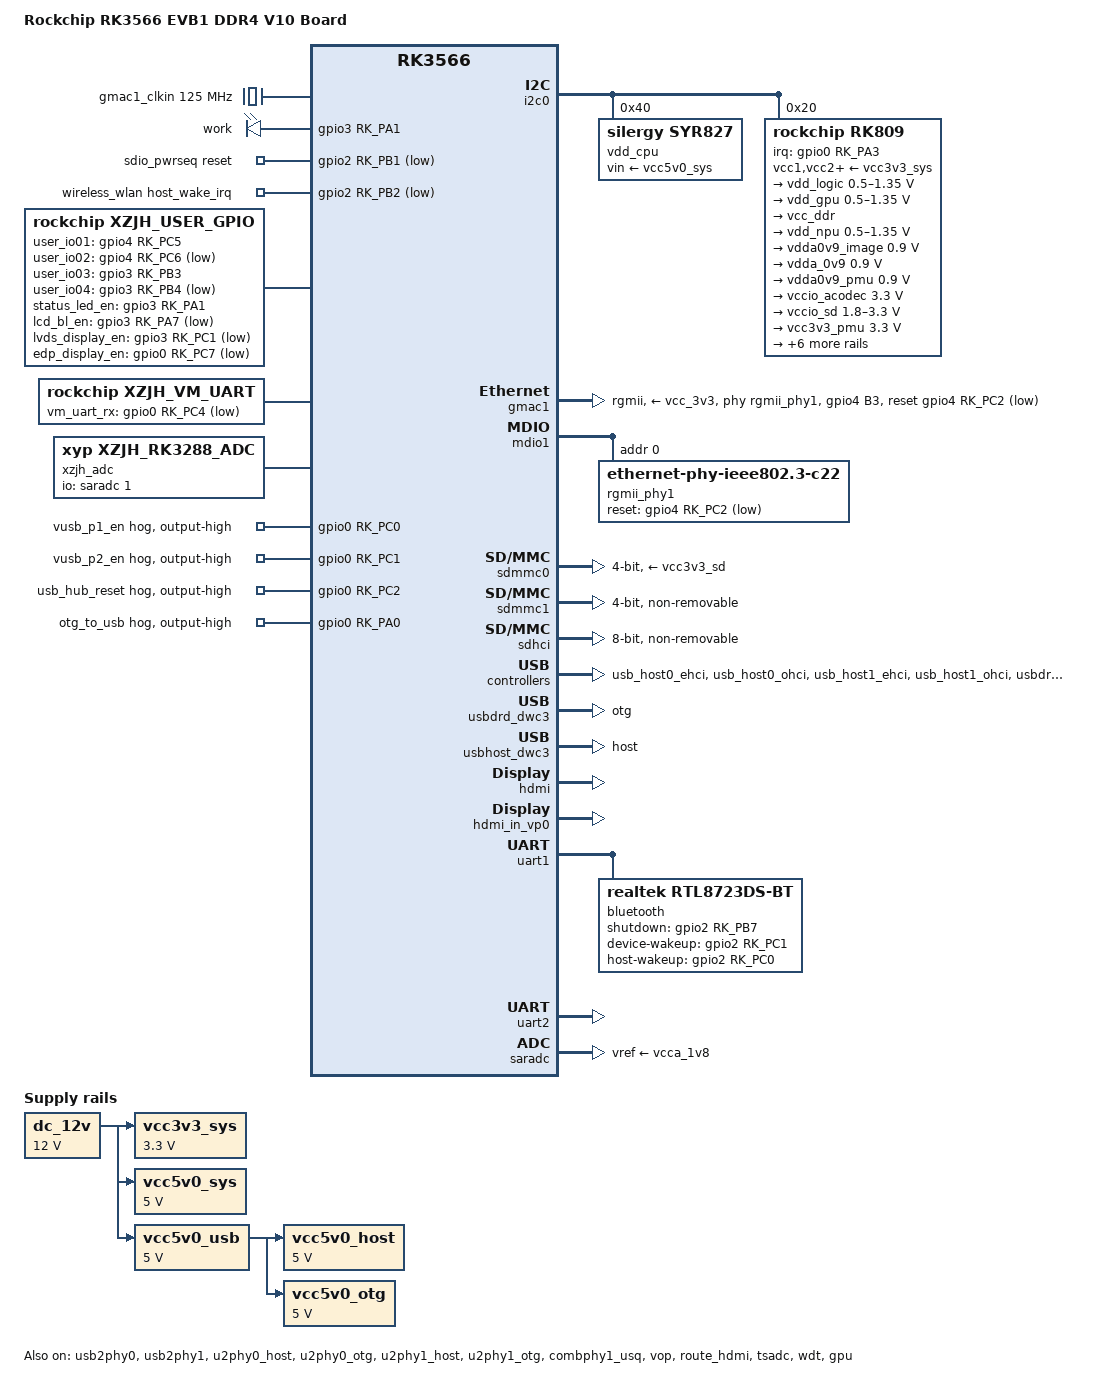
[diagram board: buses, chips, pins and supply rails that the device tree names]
// SPDX-License-Identifier: (GPL-2.0+ OR MIT)
/*
 * Board: RK3566 EVB1 DDR4 V10 (custom board)
 * DTS for armbian/linux-rockchip rk-6.1-rkr5.1
 * Keeps: USB, Bluetooth, WiFi, Ethernet (GMAC), LED, HDMI
 */

/dts-v1/;

#include <dt-bindings/gpio/gpio.h>
#include <dt-bindings/pinctrl/rockchip.h>
#include <dt-bindings/clock/rk3568-cru.h>
#include <dt-bindings/power/rk3568-power.h>
#include <dt-bindings/input/input.h>
#include "rk3566.dtsi"

/ {
	model = "Rockchip RK3566 EVB1 DDR4 V10 Board";
	compatible = "rockchip,rk3566-evb1-ddr4-v10", "rockchip,rk3566";

	aliases {
		ethernet0 = &gmac1;
		mmc0 = &sdmmc0;
		mmc1 = &sdmmc1;
		mmc2 = &sdhci;
	};

	chosen: chosen {
		bootargs = "earlycon=uart8250,mmio32,0xfe660000 rootwait";
	};

	/* ---- Fixed clocks ---- */
	gmac1_clkin: external-gmac1-clock {
		compatible = "fixed-clock";
		clock-frequency = <125000000>;
		clock-output-names = "gmac1_clkin";
		#clock-cells = <0>;
	};

	xpcs_gmac1_clk: xpcs-gmac1-clock {
		compatible = "fixed-clock";
		clock-frequency = <125000000>;
		clock-output-names = "clk_gmac1_xpcs_mii";
		#clock-cells = <0>;
	};

	/* ---- Regulators ---- */
	dc_12v: dc-12v {
		compatible = "regulator-fixed";
		regulator-name = "dc_12v";
		regulator-always-on;
		regulator-boot-on;
		regulator-min-microvolt = <12000000>;
		regulator-max-microvolt = <12000000>;
	};

	vcc3v3_sys: vcc3v3-sys {
		compatible = "regulator-fixed";
		regulator-name = "vcc3v3_sys";
		regulator-always-on;
		regulator-boot-on;
		regulator-min-microvolt = <3300000>;
		regulator-max-microvolt = <3300000>;
		vin-supply = <&dc_12v>;
	};

	vcc5v0_sys: vcc5v0-sys {
		compatible = "regulator-fixed";
		regulator-name = "vcc5v0_sys";
		regulator-always-on;
		regulator-boot-on;
		regulator-min-microvolt = <5000000>;
		regulator-max-microvolt = <5000000>;
		vin-supply = <&dc_12v>;
	};

	vcc5v0_usb: vcc5v0-usb {
		compatible = "regulator-fixed";
		regulator-name = "vcc5v0_usb";
		regulator-always-on;
		regulator-boot-on;
		regulator-min-microvolt = <5000000>;
		regulator-max-microvolt = <5000000>;
		vin-supply = <&dc_12v>;
	};

	vcc5v0_host: vcc5v0-host-regulator {
		compatible = "regulator-fixed";
		regulator-name = "vcc5v0_host";
		regulator-boot-on;
		regulator-always-on;
		regulator-min-microvolt = <5000000>;
		regulator-max-microvolt = <5000000>;
		vin-supply = <&vcc5v0_usb>;
	};

	vcc5v0_otg: vcc5v0-otg-regulator {
		compatible = "regulator-fixed";
		regulator-name = "vcc5v0_otg";
		regulator-boot-on;
		regulator-always-on;
		regulator-min-microvolt = <5000000>;
		regulator-max-microvolt = <5000000>;
		vin-supply = <&vcc5v0_usb>;
	};

	/* ---- LED ---- */
	leds: leds {
		compatible = "gpio-leds";

		work: work {
			gpios = <&gpio3 RK_PA1 GPIO_ACTIVE_HIGH>;
			linux,default-trigger = "heartbeat";
		};
	};

	/* ---- SDIO power sequence for WiFi ---- */
	sdio_pwrseq: sdio-pwrseq {
		compatible = "mmc-pwrseq-simple";
		clocks = <&rk809 1>;
		clock-names = "ext_clock";
		pinctrl-names = "default";
		pinctrl-0 = <&wifi_enable_h>;
		post-power-on-delay-ms = <200>;
		reset-gpios = <&gpio2 RK_PB1 GPIO_ACTIVE_LOW>;
	};

	/* ---- Wireless WiFi ---- */
	wireless_wlan: wireless-wlan {
		compatible = "wlan-platdata";
		rockchip,grf = <&grf>;
		wifi_chip_type = "";
		status = "okay";
		pinctrl-names = "default";
		pinctrl-0 = <&wifi_host_wake_irq>;
		WIFI,host_wake_irq = <&gpio2 RK_PB2 GPIO_ACTIVE_LOW>;
		sdio_vref = <1800>;
	};

	/* ---- Wireless Bluetooth ---- */
	/* Note: RTL8723DS BT uses hci_uart driver, init with btattach */

	/* ---- FIQ debugger (console) ---- */
	fiq_debugger: fiq-debugger {
		compatible = "rockchip,fiq-debugger";
		rockchip,serial-id = <2>;
		rockchip,wake-irq = <0>;
		rockchip,irq-mode-enable = <1>;
		rockchip,baudrate = <1500000>;
		interrupts = <GIC_SPI 252 IRQ_TYPE_LEVEL_HIGH>;
		pinctrl-names = "default";
		pinctrl-0 = <&uart2m0_xfer>;
		status = "okay";
	};

	/* ---- Custom board GPIO (LED + USB power control) ---- */
	xzjh_user_gpio: xzjh-user-gpio {
		status = "okay";
		compatible = "rockchip,xzjh_user_gpio";
		user_io01 = <&gpio4 RK_PC5 GPIO_ACTIVE_HIGH>;
		user_io02 = <&gpio4 RK_PC6 GPIO_ACTIVE_LOW>;
		user_io03 = <&gpio3 RK_PB3 GPIO_ACTIVE_HIGH>;
		user_io04 = <&gpio3 RK_PB4 GPIO_ACTIVE_LOW>;
		status_led_en = <&gpio3 RK_PA1 GPIO_ACTIVE_HIGH>;
		lcd_bl_en = <&gpio3 RK_PA7 GPIO_ACTIVE_LOW>;
		lvds_display_en = <&gpio3 RK_PC1 GPIO_ACTIVE_LOW>;
		edp_display_en = <&gpio0 RK_PC7 GPIO_ACTIVE_LOW>;
		vusb_p1_en = <&gpio0 RK_PC0 GPIO_ACTIVE_HIGH>;
		vusb_p2_en = <&gpio0 RK_PC1 GPIO_ACTIVE_HIGH>;
		usb_hub_reset = <&gpio0 RK_PC2 GPIO_ACTIVE_HIGH>;
		otg_to_usb = <&gpio0 RK_PA0 GPIO_ACTIVE_HIGH>;
		device_kernel_info = "001";
	};

	xzjh_vm_uart: xzjh-vm-uart {
		status = "okay";
		compatible = "rockchip,xzjh_vm_uart";
		vm_uart_rx = <&gpio0 RK_PC4 GPIO_ACTIVE_LOW>;
	};

	xzjh_adc: xzjh-adc {
		status = "okay";
		compatible = "xyp,xzjh_rk3288_adc";
		io-channels = <&saradc 1>;
	};

	test_power: test-power {
		status = "okay";
	};
};

/* ============================================================
 * PMIC on I2C0 - RK809
 * ============================================================ */
&i2c0 {
	status = "okay";
	pinctrl-names = "default";
	pinctrl-0 = <&i2c0_xfer>;

	vdd_cpu: syr827@40 {
		compatible = "silergy,syr827";
		reg = <0x40>;
		status = "okay";
		vin-supply = <&vcc5v0_sys>;
		regulator-compatible = "fan53555-reg";
		regulator-name = "vdd_cpu";
		regulator-min-microvolt = <712500>;
		regulator-max-microvolt = <1392500>;
		regulator-init-microvolt = <900000>;
		regulator-ramp-delay = <2300>;
		fcs,suspend-voltage-selector = <1>;
		regulator-always-on;
		regulator-boot-on;
		regulator-initial-state = <3>;

		regulator-state-mem {
			regulator-off-in-suspend;
		};
	};

	rk809: pmic@20 {
		compatible = "rockchip,rk809";
		reg = <0x20>;
		interrupt-parent = <&gpio0>;
		interrupts = <RK_PA3 IRQ_TYPE_LEVEL_LOW>;
		pinctrl-names = "default", "pmic-sleep",
				"pmic-power-off", "pmic-reset";
		pinctrl-0 = <&pmic_int>;
		pinctrl-1 = <&soc_slppin_slp &soc_slppin_gpio>;
		pinctrl-2 = <&soc_slppin_gpio &soc_slppin_pwrdn>;
		pinctrl-3 = <&soc_slppin_gpio &soc_slppin_rst>;
		rockchip,system-power-controller;
		wakeup-source;
		#clock-cells = <1>;
		clock-output-names = "rk808-clkout1", "rk808-clkout2";
		pmic-reset-func = <0>;
		not-save-power-en = <1>;

		vcc1-supply = <&vcc3v3_sys>;
		vcc2-supply = <&vcc3v3_sys>;
		vcc3-supply = <&vcc3v3_sys>;
		vcc4-supply = <&vcc3v3_sys>;
		vcc5-supply = <&vcc3v3_sys>;
		vcc6-supply = <&vcc3v3_sys>;
		vcc7-supply = <&vcc3v3_sys>;
		vcc8-supply = <&vcc3v3_sys>;
		vcc9-supply = <&vcc3v3_sys>;

		pwrkey {
			status = "okay";
		};

		pinctrl_rk8xx: pinctrl-rk8xx {
			gpio-controller;
			#gpio-cells = <2>;

			rk817_slppin_null: rk817-slppin-null {
				pins = "gpio_slp";
				function = "pin_fun0";
			};

			rk817_slppin_slp: rk817-slppin-slp {
				pins = "gpio_slp";
				function = "pin_fun1";
			};

			rk817_slppin_pwrdn: rk817-slppin-pwrdn {
				pins = "gpio_slp";
				function = "pin_fun2";
			};

			rk817_slppin_rst: rk817-slppin-rst {
				pins = "gpio_slp";
				function = "pin_fun3";
			};
		};

		regulators {
			vdd_logic: DCDC_REG1 {
				regulator-always-on;
				regulator-boot-on;
				regulator-min-microvolt = <500000>;
				regulator-max-microvolt = <1350000>;
				regulator-init-microvolt = <900000>;
				regulator-ramp-delay = <6001>;
				regulator-initial-mode = <0x2>;
				regulator-name = "vdd_logic";

				regulator-state-mem {
					regulator-off-in-suspend;
				};
			};

			vdd_gpu: DCDC_REG2 {
				regulator-always-on;
				regulator-boot-on;
				regulator-min-microvolt = <500000>;
				regulator-max-microvolt = <1350000>;
				regulator-init-microvolt = <900000>;
				regulator-ramp-delay = <6001>;
				regulator-initial-mode = <0x2>;
				regulator-name = "vdd_gpu";

				regulator-state-mem {
					regulator-off-in-suspend;
				};
			};

			vcc_ddr: DCDC_REG3 {
				regulator-always-on;
				regulator-boot-on;
				regulator-initial-mode = <0x2>;
				regulator-name = "vcc_ddr";

				regulator-state-mem {
					regulator-on-in-suspend;
				};
			};

			vdd_npu: DCDC_REG4 {
				regulator-always-on;
				regulator-boot-on;
				regulator-min-microvolt = <500000>;
				regulator-max-microvolt = <1350000>;
				regulator-init-microvolt = <900000>;
				regulator-ramp-delay = <6001>;
				regulator-initial-mode = <0x2>;
				regulator-name = "vdd_npu";

				regulator-state-mem {
					regulator-off-in-suspend;
				};
			};

			vdda0v9_image: LDO_REG1 {
				regulator-boot-on;
				regulator-always-on;
				regulator-min-microvolt = <900000>;
				regulator-max-microvolt = <900000>;
				regulator-name = "vdda0v9_image";

				regulator-state-mem {
					regulator-off-in-suspend;
				};
			};

			vdda_0v9: LDO_REG2 {
				regulator-always-on;
				regulator-boot-on;
				regulator-min-microvolt = <900000>;
				regulator-max-microvolt = <900000>;
				regulator-name = "vdda_0v9";

				regulator-state-mem {
					regulator-off-in-suspend;
				};
			};

			vdda0v9_pmu: LDO_REG3 {
				regulator-always-on;
				regulator-boot-on;
				regulator-min-microvolt = <900000>;
				regulator-max-microvolt = <900000>;
				regulator-name = "vdda0v9_pmu";

				regulator-state-mem {
					regulator-on-in-suspend;
					regulator-suspend-microvolt = <900000>;
				};
			};

			vccio_acodec: LDO_REG4 {
				regulator-always-on;
				regulator-boot-on;
				regulator-min-microvolt = <3300000>;
				regulator-max-microvolt = <3300000>;
				regulator-name = "vccio_acodec";

				regulator-state-mem {
					regulator-off-in-suspend;
				};
			};

			vccio_sd: LDO_REG5 {
				regulator-always-on;
				regulator-boot-on;
				regulator-min-microvolt = <1800000>;
				regulator-max-microvolt = <3300000>;
				regulator-name = "vccio_sd";

				regulator-state-mem {
					regulator-off-in-suspend;
				};
			};

			vcc3v3_pmu: LDO_REG6 {
				regulator-always-on;
				regulator-boot-on;
				regulator-min-microvolt = <3300000>;
				regulator-max-microvolt = <3300000>;
				regulator-name = "vcc3v3_pmu";

				regulator-state-mem {
					regulator-on-in-suspend;
					regulator-suspend-microvolt = <3300000>;
				};
			};

			vcca_1v8: LDO_REG7 {
				regulator-always-on;
				regulator-boot-on;
				regulator-min-microvolt = <1800000>;
				regulator-max-microvolt = <1800000>;
				regulator-name = "vcca_1v8";

				regulator-state-mem {
					regulator-off-in-suspend;
				};
			};

			vcca1v8_pmu: LDO_REG8 {
				regulator-always-on;
				regulator-boot-on;
				regulator-min-microvolt = <1800000>;
				regulator-max-microvolt = <1800000>;
				regulator-name = "vcca1v8_pmu";

				regulator-state-mem {
					regulator-on-in-suspend;
					regulator-suspend-microvolt = <1800000>;
				};
			};

			vcca1v8_image: LDO_REG9 {
				regulator-always-on;
				regulator-boot-on;
				regulator-min-microvolt = <1800000>;
				regulator-max-microvolt = <1800000>;
				regulator-name = "vcca1v8_image";

				regulator-state-mem {
					regulator-off-in-suspend;
				};
			};

			vcc_1v8: DCDC_REG5 {
				regulator-always-on;
				regulator-boot-on;
				regulator-min-microvolt = <1800000>;
				regulator-max-microvolt = <1800000>;
				regulator-name = "vcc_1v8";

				regulator-state-mem {
					regulator-off-in-suspend;
				};
			};

			vcc_3v3: SWITCH_REG1 {
				regulator-always-on;
				regulator-boot-on;
				regulator-name = "vcc_3v3";

				regulator-state-mem {
					regulator-off-in-suspend;
				};
			};

			vcc3v3_sd: SWITCH_REG2 {
				regulator-always-on;
				regulator-boot-on;
				regulator-name = "vcc3v3_sd";

				regulator-state-mem {
					regulator-off-in-suspend;
				};
			};
		};

		rk809_codec: codec {
			#sound-dai-cells = <0>;
			compatible = "rockchip,rk809-codec", "rockchip,rk817-codec";
			status = "disabled";
		};
	};
};

/* ============================================================
 * GMAC Ethernet (RGMII, external PHY)
 * ============================================================ */
&gmac1 {
	assigned-clocks = <&cru SCLK_GMAC1_RX_TX>, <&cru SCLK_GMAC1>, <&cru CLK_MAC1_OUT>;
	assigned-clock-parents = <&cru SCLK_GMAC1_RGMII_SPEED>;
	assigned-clock-rates = <0>, <125000000>, <25000000>;
	clock_in_out = "output";
	phy-mode = "rgmii";
	phy-supply = <&vcc_3v3>;
	/*
	 * snps,reset-gpio is used by stmmac_mdio_reset() which runs as the
	 * MDIO bus reset callback BEFORE the PHY scan. This is critical:
	 * the PHY's reset-gpios (in the phy@0 node below) is only processed
	 * AFTER get_phy_device() reads the PHY ID via MDIO, which requires
	 * the PHY to already be out of reset. So we need snps,reset-gpio here
	 * to deassert the reset before the MDIO scan.
	 * stmmac_mdio_reset() claims the GPIO, toggles it, then releases it
	 * (devm_gpiod_put), so the PHY subsystem can later claim reset-gpios.
	 */
	snps,reset-gpio = <&gpio4 RK_PC2 GPIO_ACTIVE_LOW>;
	snps,reset-delays-us = <0 20000 100000>;
	pinctrl-names = "default";
	pinctrl-0 = <&gmac1m1_miim
		     &gmac1m1_clkinout
		     &gmac1m1_rx_bus2
		     &gmac1m1_tx_bus2
		     &gmac1m1_rgmii_clk
		     &gmac1m1_rgmii_bus
		     &eth1m1_pins>;
	tx_delay = <0x4f>;
	rx_delay = <0x26>;
	phy-handle = <&rgmii_phy1>;
	status = "okay";
};

&mdio1 {
	rgmii_phy1: phy@0 {
		compatible = "ethernet-phy-ieee802.3-c22";
		reg = <0x0>;
		clocks = <&cru CLK_MAC1_OUT>;
		reset-gpios = <&gpio4 RK_PC2 GPIO_ACTIVE_LOW>;
		reset-assert-us = <20000>;
		reset-deassert-us = <100000>;
	};
};

/* ============================================================
 * Storage: eMMC, SD card, SDIO (WiFi)
 * ============================================================ */

/* SD card */
&sdmmc0 {
	max-frequency = <150000000>;
	bus-width = <4>;
	cap-mmc-highspeed;
	cap-sd-highspeed;
	disable-wp;
	sd-uhs-sdr104;
	vmmc-supply = <&vcc3v3_sd>;
	vqmmc-supply = <&vccio_sd>;
	pinctrl-names = "default";
	pinctrl-0 = <&sdmmc0_bus4 &sdmmc0_clk &sdmmc0_cmd &sdmmc0_det>;
	status = "okay";
};

/* SDIO - WiFi (RTL8723DS) */
&sdmmc1 {
	max-frequency = <150000000>;
	bus-width = <4>;
	disable-wp;
	cap-sd-highspeed;
	cap-sdio-irq;
	keep-power-in-suspend;
	mmc-pwrseq = <&sdio_pwrseq>;
	non-removable;
	pinctrl-names = "default";
	pinctrl-0 = <&sdmmc1_bus4 &sdmmc1_clk &sdmmc1_cmd>;
	sd-uhs-sdr104;
	status = "okay";
};

/* eMMC */
&sdhci {
	bus-width = <8>;
	max-frequency = <200000000>;
	non-removable;
	status = "okay";
};

/* ============================================================
 * USB
 * ============================================================ */
&usb2phy0 {
	status = "okay";
};

&usb2phy1 {
	status = "okay";
};

&usb_host0_ehci {
	status = "okay";
};

&usb_host0_ohci {
	status = "okay";
};

&usb_host1_ehci {
	status = "okay";
};

&usb_host1_ohci {
	status = "okay";
};

&u2phy0_host {
	phy-supply = <&vcc5v0_host>;
	status = "okay";
};

&u2phy0_otg {
	vbus-supply = <&vcc5v0_otg>;
	status = "okay";
};

&u2phy1_host {
	phy-supply = <&vcc5v0_host>;
	status = "okay";
};

&u2phy1_otg {
	phy-supply = <&vcc5v0_host>;
	status = "okay";
};

&usbdrd30 {
	status = "okay";
};

&usbhost30 {
	status = "okay";
};

&combphy1_usq {
	status = "okay";
};

&usbdrd_dwc3 {
	dr_mode = "otg";
	extcon = <&usb2phy0>;
	status = "okay";
};

&usbhost_dwc3 {
	dr_mode = "host";
	status = "okay";
};

/* ============================================================
 * Display / HDMI
 * ============================================================ */
&vop {
	status = "okay";
	vop-supply = <&vdd_logic>;
	assigned-clocks = <&cru DCLK_VOP0>, <&cru DCLK_VOP1>, <&cru DCLK_VOP2>;
	assigned-clock-parents = <&pmucru PLL_HPLL>, <&cru PLL_VPLL>, <&cru PLL_GPLL>;
};

&vop_mmu {
	status = "okay";
};

&hdmi {
	status = "okay";
	rockchip,phy-table =
		<92812500  0x8009 0x0000 0x0270>,
		<165000000 0x800b 0x0000 0x026d>,
		<185625000 0x800b 0x0000 0x01ed>,
		<297000000 0x800b 0x0000 0x01ad>,
		<594000000 0x8029 0x0000 0x0088>,
		<000000000 0x0000 0x0000 0x0000>;
};

&hdmi_in_vp0 {
	status = "okay";
};

&hdmi_in_vp1 {
	status = "disabled";
};

&route_hdmi {
	status = "okay";
	connect = <&vp0_out_hdmi>;
};

/* ============================================================
 * UART
 * ============================================================ */

/* UART1 - Bluetooth (RTL8723DS) */
&uart1 {
	pinctrl-names = "default";
	pinctrl-0 = <&uart1m0_xfer &uart1m0_ctsn &uart1m0_rtsn>;
	uart-has-rtscts;
	status = "okay";

	bluetooth {
		compatible = "realtek,rtl8723ds-bt";
		shutdown-gpios = <&gpio2 RK_PB7 GPIO_ACTIVE_HIGH>;
		device-wakeup-gpios = <&gpio2 RK_PC1 GPIO_ACTIVE_HIGH>;
		host-wakeup-gpios = <&gpio2 RK_PC0 GPIO_ACTIVE_HIGH>;
		max-speed = <3000000>;
		pinctrl-names = "default";
		pinctrl-0 = <&bt_host_wake_l &bt_wake_l &bt_enable_h>;
	};
};

/* UART2 - console (FIQ debugger) */
&uart2 {
	pinctrl-names = "default";
	pinctrl-0 = <&uart2m0_xfer>;
	status = "okay";
};

/* ============================================================
 * SARADC / TSADC
 * ============================================================ */
&saradc {
	status = "okay";
	vref-supply = <&vcca_1v8>;
};

&tsadc {
	status = "okay";
	rockchip,hw-tshut-temp = <120000>;
	rockchip,hw-tshut-mode = <0>;
	rockchip,hw-tshut-polarity = <0>;
	pinctrl-names = "gpio", "otpout";
	pinctrl-0 = <&tsadc_gpio_func>;
	pinctrl-1 = <&tsadc_shutorg>;
};

/* ============================================================
 * IO domains
 * ============================================================ */
&pmu_io_domains {
	status = "okay";
	pmuio2-supply = <&vcc3v3_pmu>;
	vccio1-supply = <&vcc_3v3>;
	vccio3-supply = <&vccio_sd>;
	vccio4-supply = <&vcc_1v8>;
	vccio5-supply = <&vcc_3v3>;
	vccio6-supply = <&vcc_1v8>;
	vccio7-supply = <&vcc_3v3>;
};

/* ============================================================
 * Watchdog
 * ============================================================ */
&wdt {
	status = "okay";
};

/* ============================================================
 * Rockchip suspend
 * ============================================================ */
&rockchip_suspend {
	status = "okay";
	rockchip,sleep-debug-en = <1>;
	rockchip,sleep-mode-config = <0x5ec>;
	rockchip,wakeup-config = <0x10>;
};

/* ============================================================
 * GPIO hogs for custom board USB power control
 * (originally handled by xzjh_user_gpio driver, absent in armbian)
 * ============================================================ */
&gpio0 {
	usb-p1-en-hog {
		gpio-hog;
		gpios = <RK_PC0 0>;
		output-high;
		line-name = "vusb_p1_en";
	};

	usb-p2-en-hog {
		gpio-hog;
		gpios = <RK_PC1 0>;
		output-high;
		line-name = "vusb_p2_en";
	};

	usb-hub-reset-hog {
		gpio-hog;
		gpios = <RK_PC2 0>;
		output-high;
		line-name = "usb_hub_reset";
	};

	otg-to-usb-hog {
		gpio-hog;
		gpios = <RK_PA0 0>;
		output-high;
		line-name = "otg_to_usb";
	};
};

/* ============================================================
 * Pinctrl - board specific pin configurations
 * ============================================================ */
&pinctrl {

	/* gmac1m1_* pinctrl labels are provided by rk3568-pinctrl.dtsi */

	eth1 {
		eth1m1_pins: eth1m1-pins {
			rockchip,pins = <4 RK_PB3 3 &pcfg_pull_none>;
		};
	};

	pmic {
		pmic_int: pmic_int {
			rockchip,pins = <0 RK_PA3 0 &pcfg_pull_up>;
		};

		soc_slppin_gpio: soc_slppin_gpio {
			rockchip,pins = <0 RK_PA2 0 &pcfg_pull_down>;
		};

		soc_slppin_slp: soc_slppin_slp {
			rockchip,pins = <0 RK_PA2 1 &pcfg_pull_up>;
		};

		soc_slppin_pwrdn: soc_slppin_pwrdn {
			rockchip,pins = <0 RK_PA2 2 &pcfg_pull_none>;
		};

		soc_slppin_rst: soc_slppin_rst {
			rockchip,pins = <0 RK_PA2 3 &pcfg_pull_none>;
		};
	};

	sdio-pwrseq {
		wifi_enable_h: wifi-enable-h {
			rockchip,pins = <2 RK_PB1 0 &pcfg_pull_none>;
		};
	};

	bt {
		bt_enable_h: bt-enable-h {
			rockchip,pins = <2 RK_PB7 RK_FUNC_GPIO &pcfg_pull_none>;
		};

		bt_host_wake_l: bt-host-wake-l {
			rockchip,pins = <2 RK_PC0 RK_FUNC_GPIO &pcfg_pull_none>;
		};

		bt_wake_l: bt-wake-l {
			rockchip,pins = <2 RK_PC1 RK_FUNC_GPIO &pcfg_pull_none>;
		};
	};

	/*
	 * 注意: 移除了 wireless-bluetooth pinctrl 节点
	 * RTL8723DS BT RTS GPIO 现在由 UART1 驱动自动管理
	 * (uart1m0_rtsn pinmux)
	 */

	wireless-wlan {
		wifi_host_wake_irq: wifi-host-wake-irq {
			rockchip,pins = <2 RK_PB2 0 &pcfg_pull_down>;
		};
	};
};

&gpu {
	mali-supply = <&vdd_gpu>;
	status = "okay";
};
/*
&rknpu {
	rknpu-supply = <&vdd_npu>;
	status = "okay";
};

&rknpu_mmu {
	status = "okay";
};
*/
